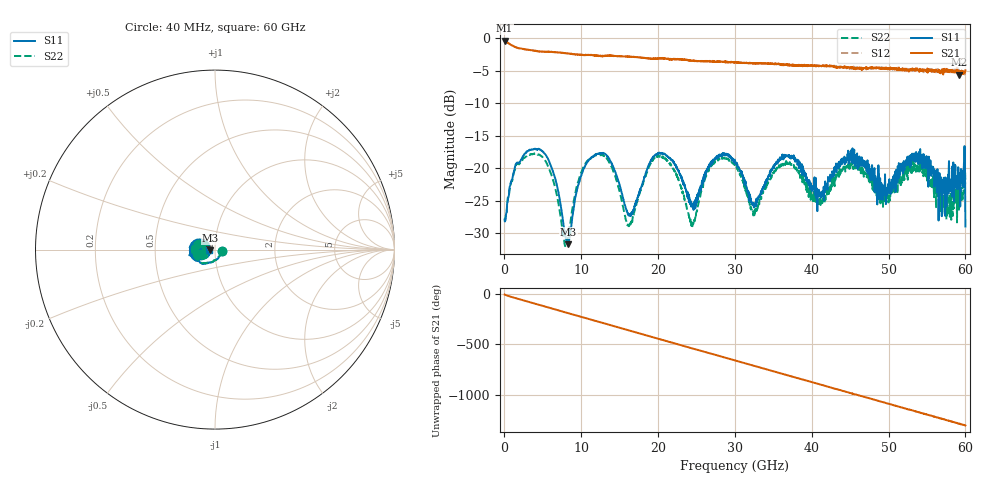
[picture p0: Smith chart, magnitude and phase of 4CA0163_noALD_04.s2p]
! File created by 'SoftPlot +Plus+ Measurement Management Software'
! SoftPlot +Plus+ Measurement Management Software
! Start 40.000000 MHz  Stop 60.000000 GHz  Points 1601
# MHZ S RI R 50
! S-Parameter data, F S11 S21 S12 S22
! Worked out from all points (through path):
!   1601 points, 40 MHz to 60 GHz, reference 50 ohm
!   highest |S21| = -0.38 dB at 40 MHz (marker M1); lowest = -5.6 dB at 59.21 GHz (marker M2)
!   group delay of S21, straight-line fit = 60.3 ps
!   lowest |S11| = -31.7 dB at 8.322 GHz (marker M3), VSWR 1.05, Z = 47.5 - j0.409 ohm
!   |S11| at or under -10 dB: start of sweep to end of sweep
!   |S22| runs from -32.0 to -17.7 dB; largest |S21 - S12| = 0.047
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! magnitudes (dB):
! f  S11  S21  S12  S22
! 40 MHz  -27.9  -0.4  -0.4  -28.1
! 1.576 GHz  -19.3  -1.5  -1.4  -19.5
! 4.612 GHz  -17.1  -2.1  -2.1  -18.0
! 6.448 GHz  -20.9  -2.2  -2.2  -22.3
! 7.797 GHz  -29.5  -2.3  -2.3  -31.1
! 8.322 GHz  -31.7  -2.4  -2.4  -30.5
! 10.05 GHz  -21.1  -2.6  -2.6  -20.6
! 13.23 GHz  -17.9  -2.7  -2.7  -18.3
! 16.23 GHz  -27.3  -2.9  -2.9  -28.9
! 20.05 GHz  -17.8  -3.2  -3.1  -18.1
! 24.47 GHz  -25.9  -3.5  -3.5  -28.9
! 26.95 GHz  -19.4  -3.6  -3.6  -19.6
! 30.02 GHz  -19.2  -3.7  -3.7  -19.5
! 32.46 GHz  -25.5  -3.9  -3.9  -26.6
! 36.5 GHz  -18.3  -4.1  -4.2  -19.6
! 40.03 GHz  -23.4  -4.2  -4.3  -24.2
! 45.23 GHz  -18.6  -4.6  -4.6  -19.5
! 50.03 GHz  -22.3  -4.6  -4.6  -24.2
! 54.04 GHz  -18.2  -4.7  -4.9  -20.5
! 57.56 GHz  -23.0  -4.7  -5.0  -25.9
! 59.21 GHz  -20.8  -5.6  -5.2  -23.8
! 60 GHz  -29.0  -5.0  -5.6  -22.4
